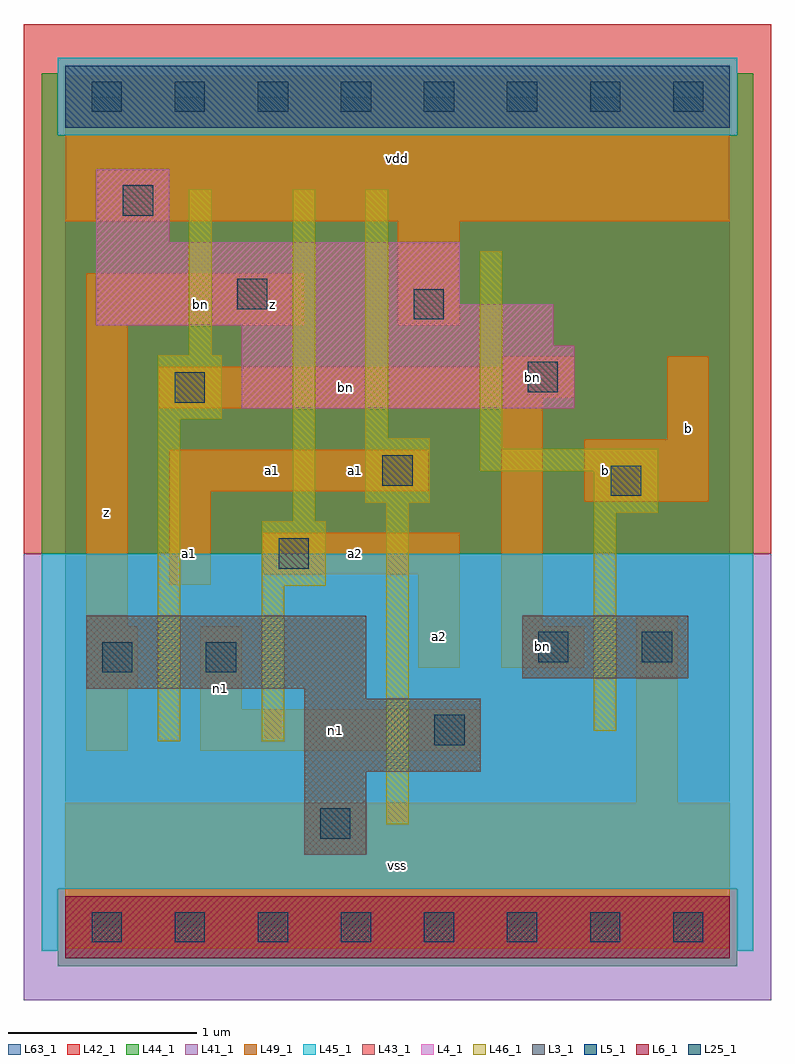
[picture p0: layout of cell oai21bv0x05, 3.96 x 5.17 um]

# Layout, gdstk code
import gdstk
lib = gdstk.Library(unit=1e-6, precision=1e-09)
def R(c, l, rs):  # rectangles x0, y0, x1, y1
    for r in rs: c.add(gdstk.rectangle(r[:2], r[2:], *l))
def A(c, l, x, y, w, h, nx, ny, dx, dy):  # array of equal rectangles
    R(c, l, [(x+i*dx, y+j*dy, x+i*dx+w, y+j*dy+h) for i in range(nx) for j in range(ny)])
L3_1 = (3, 1)
L4_1 = (4, 1)
L5_1 = (5, 1)
L6_1 = (6, 1)
L25_1 = (25, 1)
L41_1 = (41, 1)
L42_1 = (42, 1)
L43_1 = (43, 1)
L44_1 = (44, 1)
L45_1 = (45, 1)
L46_1 = (46, 1)
L49_1 = (49, 1)
L63_1 = (63, 1)

oai21bv0x05 = lib.new_cell('oai21bv0x05')
R(oai21bv0x05, L3_1, [(1.265,0.385,1.595,0.825), (1.265,0.825,2.2,1.21), (1.265,1.21,1.595,1.265), (0.11,1.265,1.595,1.65), (2.42,1.32,3.3,1.65)])
R(oai21bv0x05, L4_1, [(0.935,2.75,2.695,3.08), (0.935,3.08,2.585,3.19), (0.165,3.19,2.585,3.3), (0.165,3.3,2.09,3.63), (0.165,3.63,0.55,4.015)])
R(oai21bv0x05, L5_1, [(0,4.235,3.52,4.565)])
R(oai21bv0x05, L6_1, [(0,-0.165,3.52,0.165)])
A(oai21bv0x05, L25_1, 0.14, -0.08, 0.16, 0.16, 8, 2, 0.44, 4.4)
R(oai21bv0x05, L25_1, [(1.35,0.47,1.51,0.63), (1.955,0.965,2.115,1.125), (0.195,1.35,0.355,1.51), (0.745,1.35,0.905,1.51), (2.505,1.405,2.665,1.565), (3.055,1.405,3.215,1.565), (1.13,1.9,1.29,2.06), (2.89,2.285,3.05,2.445), (1.68,2.34,1.84,2.5), (0.58,2.78,0.74,2.94), (2.45,2.835,2.61,2.995), (1.845,3.22,2.005,3.38), (0.91,3.275,1.07,3.435), (0.305,3.77,0.465,3.93)])
R(oai21bv0x05, L41_1, [(-0.22,-0.385,3.74,1.98)])
R(oai21bv0x05, L42_1, [(-0.22,1.98,3.74,4.785)])
R(oai21bv0x05, L43_1, [(0,-0.165,3.52,0.165), (1.265,0.385,1.595,0.825), (1.265,0.825,2.2,1.21), (1.265,1.21,1.595,1.265), (0.11,1.265,1.595,1.65), (2.42,1.32,3.3,1.65), (0.935,2.75,2.695,3.08), (0.935,3.08,2.585,3.19), (0.165,3.19,2.585,3.3), (0.165,3.3,2.09,3.63), (0.165,3.63,0.55,4.015), (0,4.235,3.52,4.565)])
R(oai21bv0x05, L44_1, [(-0.04,-0.205,3.56,0.205), (-0.125,1.98,3.645,4.195), (-0.125,4.195,-0.04,4.525), (3.56,4.195,3.645,4.525)])
R(oai21bv0x05, L45_1, [(-0.125,-0.125,-0.04,0.205), (3.56,-0.125,3.645,0.205), (-0.125,0.205,3.645,1.98), (-0.04,4.195,3.56,4.605)])
R(oai21bv0x05, L46_1, [(1.7,0.545,1.82,2.25), (0.49,0.985,0.61,2.69), (1.04,0.985,1.16,1.81), (2.8,1.04,2.92,2.195), (1.04,1.81,1.38,2.15), (1.205,2.15,1.325,3.91), (2.8,2.195,3.14,2.415), (1.59,2.25,1.93,2.59), (2.195,2.415,3.14,2.535), (2.195,2.535,2.315,3.58), (1.59,2.59,1.71,3.91), (0.49,2.69,0.83,3.03), (0.655,3.03,0.775,3.91)])
R(oai21bv0x05, L49_1, [(0,-0.11,3.52,0.66), (3.025,0.66,3.245,1.65), (0.11,0.935,0.33,1.265), (0.715,0.935,2.2,1.155), (0.715,1.155,0.935,1.595), (0.11,1.265,0.385,1.595), (1.87,1.375,2.09,1.87), (2.31,1.375,2.75,1.595), (0.11,1.595,0.33,3.19), (2.31,1.595,2.53,2.75), (0.55,1.815,0.77,2.31), (1.045,1.87,2.09,2.09), (2.75,2.255,3.41,2.585), (0.55,2.31,1.925,2.53), (3.19,2.585,3.41,3.025), (0.495,2.75,2.53,2.805), (0.495,2.805,2.695,2.97), (2.31,2.97,2.695,3.025), (0.11,3.19,1.265,3.465), (1.76,3.19,2.09,3.74), (0,3.74,3.52,4.51)])
R(oai21bv0x05, L63_1, [(0,0,3.52,4.4)])
oai21bv0x05.add(gdstk.Label('bn', (0.715,3.3), layer=46, texttype=1))
oai21bv0x05.add(gdstk.Label('z', (0.22,2.2), layer=49, texttype=1))
oai21bv0x05.add(gdstk.Label('n1', (0.825,1.265), layer=49, texttype=1))
oai21bv0x05.add(gdstk.Label('a1', (0.66,1.98), layer=49, texttype=1))
oai21bv0x05.add(gdstk.Label('a1', (1.1,2.42), layer=49, texttype=1))
oai21bv0x05.add(gdstk.Label('z', (0.66,3.3), layer=49, texttype=1))
oai21bv0x05.add(gdstk.Label('z', (1.1,3.3), layer=49, texttype=1))
oai21bv0x05.add(gdstk.Label('vss', (1.76,0.33), layer=49, texttype=1))
oai21bv0x05.add(gdstk.Label('a2', (1.98,1.54), layer=49, texttype=1))
oai21bv0x05.add(gdstk.Label('a2', (1.54,1.98), layer=49, texttype=1))
oai21bv0x05.add(gdstk.Label('a1', (1.54,2.42), layer=49, texttype=1))
oai21bv0x05.add(gdstk.Label('vdd', (1.76,4.07), layer=49, texttype=1))
oai21bv0x05.add(gdstk.Label('n1', (1.43,1.045), layer=49, texttype=1))
oai21bv0x05.add(gdstk.Label('bn', (2.53,1.485), layer=49, texttype=1))
oai21bv0x05.add(gdstk.Label('bn', (1.485,2.86), layer=49, texttype=1))
oai21bv0x05.add(gdstk.Label('bn', (2.475,2.915), layer=49, texttype=1))
oai21bv0x05.add(gdstk.Label('b', (2.86,2.42), layer=49, texttype=1))
oai21bv0x05.add(gdstk.Label('b', (3.3,2.64), layer=49, texttype=1))

lib.write_gds('oai21bv0x05.gds')
